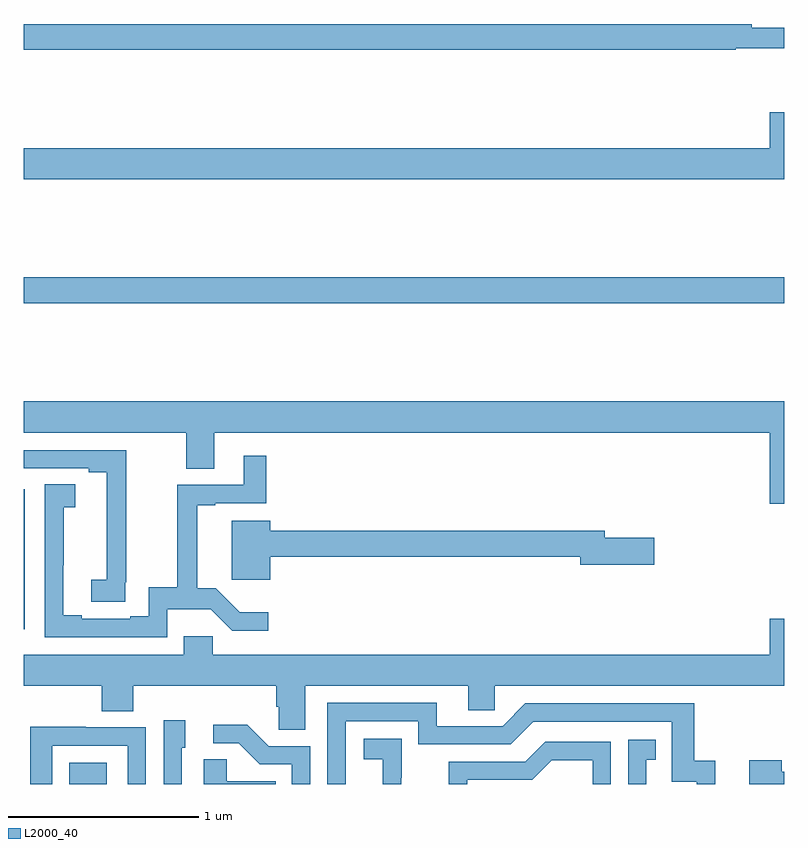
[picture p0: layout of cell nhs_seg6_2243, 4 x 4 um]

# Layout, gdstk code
import gdstk
lib = gdstk.Library(unit=1e-6, precision=1e-09)
def R(c, l, rs):  # rectangles x0, y0, x1, y1
    for r in rs: c.add(gdstk.rectangle(r[:2], r[2:], *l))
def P(c, l, *ps):  # polygons
    for p in ps: c.add(gdstk.Polygon(p, *l))
L2000_40 = (2000, 40)

nhs_seg6_2243 = lib.new_cell('nhs_seg6_2243')
R(nhs_seg6_2243, L2000_40, [(245.24,933.5,245.437,933.613), (245,934.313,245.005,935.05), (245,936.028,249,936.164)])
P(nhs_seg6_2243, L2000_40, [(248.745,937.368),(249,937.368),(249,937.477),(248.828,937.477),(248.828,937.496),(245,937.496),(245,937.36),(248.745,937.36)],
  [(249,937.033),(248.924,937.033),(248.924,936.844),(245,936.844),(245,936.68),(249,936.68)],
  [(249,935.512),(245,935.512),(245,935.348),(245.854,935.348),(245.854,935.158),(246.001,935.158),(246.001,935.348),(248.924,935.348),(248.924,934.974),(249,934.974)],
  [(245.534,934.561),(245.54,934.561),(245.54,935.256),(245,935.256),(245,935.16),(245.342,935.16),(245.342,935.14),(245.438,935.14),(245.438,934.857),(245.437,934.857),(245.437,934.574),(245.355,934.574),(245.355,934.459),(245.534,934.459)],
  [(245.754,934.418),(245.983,934.418),(246.096,934.305),(246.286,934.305),(246.286,934.402),(246.137,934.402),(246.011,934.528),(245.912,934.528),(245.912,934.965),(246.007,934.965),(246.007,934.977),(246.275,934.977),(246.275,935.227),(246.158,935.227),(246.158,935.073),(245.809,935.073),(245.809,934.535),(245.658,934.535),(245.658,934.382),(245.561,934.382),(245.561,934.368),(245.305,934.368),(245.305,934.388),(245.209,934.388),(245.209,934.651),(245.211,934.651),(245.211,934.955),(245.272,934.955),(245.272,935.075),(245.112,935.075),(245.112,934.272),(245.754,934.272)],
  [(246.298,934.696),(247.928,934.696),(247.928,934.654),(248.317,934.654),(248.317,934.796),(248.056,934.796),(248.056,934.832),(246.298,934.832),(246.298,934.885),(246.095,934.885),(246.095,934.575),(246.298,934.575)],
  [(246.481,934.016),(247.337,934.016),(247.337,933.889),(247.476,933.889),(247.476,934.016),(249,934.016),(249,934.369),(248.924,934.369),(248.924,934.18),(245.995,934.18),(245.995,934.278),(245.843,934.278),(245.843,934.18),(245,934.18),(245,934.016),(245.411,934.016),(245.411,933.883),(245.576,933.883),(245.576,934.016),(246.329,934.016),(246.329,933.907),(246.342,933.907),(246.342,933.784),(246.481,933.784)],
  [(246.693,933.831),(247.074,933.831),(247.074,933.708),(247.56,933.708),(247.68,933.828),(248.409,933.828),(248.409,933.513),(248.538,933.513),(248.538,933.5),(248.636,933.5),(248.636,933.622),(248.525,933.622),(248.525,933.924),(247.638,933.924),(247.518,933.804),(247.171,933.804),(247.171,933.927),(246.597,933.927),(246.597,933.5),(246.693,933.5)],
  [(245.832,933.69),(245.851,933.69),(245.851,933.835),(245.736,933.835),(245.736,933.5),(245.832,933.5)],
  [(246.507,933.699),(246.288,933.699),(246.175,933.812),(245.997,933.812),(245.997,933.714),(246.131,933.714),(246.242,933.603),(246.411,933.603),(246.411,933.5),(246.507,933.5)],
  [(245.151,933.702),(245.547,933.702),(245.547,933.5),(245.643,933.5),(245.643,933.798),(245.327,933.798),(245.327,933.8),(245.035,933.8),(245.035,933.5),(245.151,933.5)],
  [(246.986,933.533),(246.987,933.533),(246.987,933.739),(246.789,933.739),(246.789,933.629),(246.887,933.629),(246.887,933.5),(246.986,933.5)],
  [(248.275,933.627),(248.324,933.627),(248.324,933.733),(248.178,933.733),(248.178,933.5),(248.275,933.5)],
  [(247.332,933.522),(247.674,933.522),(247.778,933.626),(247.992,933.626),(247.992,933.5),(248.088,933.5),(248.088,933.723),(247.742,933.723),(247.637,933.618),(247.234,933.618),(247.234,933.5),(247.332,933.5)],
  [(246.326,933.514),(246.069,933.514),(246.069,933.629),(245.948,933.629),(245.948,933.5),(246.326,933.5)],
  [(249,933.565),(248.987,933.565),(248.987,933.625),(248.816,933.625),(248.816,933.5),(249,933.5)])

lib.write_gds('nhs_seg6_2243.gds')
